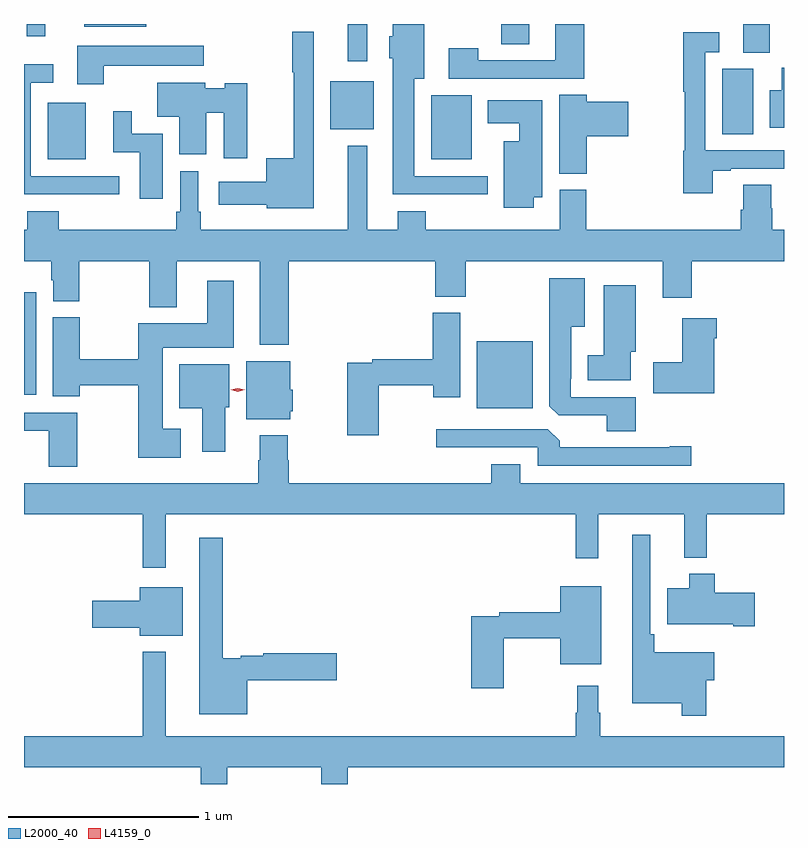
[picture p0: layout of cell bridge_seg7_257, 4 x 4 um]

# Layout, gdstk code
import gdstk
lib = gdstk.Library(unit=1e-6, precision=1e-09)
def R(c, l, rs):  # rectangles x0, y0, x1, y1
    for r in rs: c.add(gdstk.rectangle(r[:2], r[2:], *l))
def P(c, l, *ps):  # polygons
    for p in ps: c.add(gdstk.Polygon(p, *l))
L2000_40 = (2000, 40)
L4159_0 = (4159, 0)

bridge_seg7_257 = lib.new_cell('bridge_seg7_257')
R(bridge_seg7_257, L2000_40, [(170.024,1062.446,170.317,1062.799), (167.64,1062.518,167.704,1063.057), (167.765,1063.757,167.965,1064.053), (169.784,1063.757,169.996,1064.092), (171.314,1063.888,171.478,1064.232), (169.253,1063.913,169.48,1064.167), (169.343,1064.271,169.447,1064.468), (171.425,1064.317,171.565,1064.468), (170.152,1064.362,170.299,1064.468), (167.655,1064.403,167.753,1064.468), (167.957,1064.453,168.283,1064.468)])
P(bridge_seg7_257, L2000_40, [(170.08,1063.668),(169.693,1063.668),(169.693,1064.18),(169.747,1064.18),(169.747,1064.467),(169.58,1064.467),(169.58,1064.403),(169.562,1064.403),(169.562,1064.289),(169.58,1064.289),(169.58,1063.571),(170.08,1063.571)],
  [(170.588,1064.467),(170.435,1064.467),(170.435,1064.277),(170.031,1064.277),(170.031,1064.341),(169.875,1064.341),(169.875,1064.181),(170.588,1064.181)],
  [(169.165,1064.428),(169.051,1064.428),(169.051,1064.215),(169.061,1064.215),(169.061,1063.762),(168.914,1063.762),(168.914,1063.639),(168.666,1063.639),(168.666,1063.517),(168.918,1063.517),(168.918,1063.499),(169.165,1063.499)],
  [(171.265,1063.695),(171.361,1063.695),(171.361,1063.707),(171.64,1063.707),(171.64,1063.803),(171.225,1063.803),(171.225,1064.319),(171.298,1064.319),(171.298,1064.425),(171.109,1064.425),(171.109,1064.112),(171.117,1064.112),(171.117,1063.8),(171.109,1063.8),(171.109,1063.578),(171.265,1063.578)],
  [(168.061,1064.249),(168.586,1064.249),(168.586,1064.353),(167.921,1064.353),(167.921,1064.151),(168.061,1064.151)],
  [(168.142,1063.668),(167.676,1063.668),(167.676,1064.16),(167.794,1064.16),(167.794,1064.257),(167.64,1064.257),(167.64,1063.572),(167.905,1063.572),(167.905,1063.571),(168.142,1063.571)],
  [(171.64,1064.238),(171.629,1064.238),(171.629,1064.119),(171.566,1064.119),(171.566,1063.923),(171.64,1063.923)],
  [(168.814,1064.157),(168.696,1064.157),(168.696,1064.131),(168.594,1064.131),(168.594,1064.158),(168.341,1064.158),(168.341,1063.979),(168.458,1063.979),(168.458,1063.782),(168.598,1063.782),(168.598,1064.002),(168.692,1064.002),(168.692,1063.761),(168.814,1063.761)],
  [(170.603,1063.877),(170.821,1063.877),(170.821,1064.06),(170.603,1064.06),(170.603,1064.096),(170.456,1064.096),(170.456,1063.681),(170.603,1063.681)],
  [(170.323,1063.556),(170.368,1063.556),(170.368,1064.068),(170.081,1064.068),(170.081,1063.946),(170.246,1063.946),(170.246,1063.852),(170.165,1063.852),(170.165,1063.5),(170.323,1063.5)],
  [(168.37,1063.89),(168.208,1063.89),(168.208,1064.008),(168.11,1064.008),(168.11,1063.794),(168.248,1063.794),(168.248,1063.548),(168.37,1063.548)],
  [(169.034,1063.22),(169.805,1063.22),(169.805,1063.033),(169.965,1063.033),(169.965,1063.22),(171.002,1063.22),(171.002,1063.026),(171.155,1063.026),(171.155,1063.22),(171.64,1063.22),(171.64,1063.384),(171.578,1063.384),(171.578,1063.497),(171.573,1063.497),(171.573,1063.622),(171.425,1063.622),(171.425,1063.49),(171.413,1063.49),(171.413,1063.384),(170.6,1063.384),(170.6,1063.596),(170.459,1063.596),(170.459,1063.384),(169.755,1063.384),(169.755,1063.483),(169.607,1063.483),(169.607,1063.384),(169.447,1063.384),(169.447,1063.828),(169.343,1063.828),(169.343,1063.384),(168.571,1063.384),(168.571,1063.48),(168.558,1063.48),(168.558,1063.693),(168.462,1063.693),(168.462,1063.48),(168.442,1063.48),(168.442,1063.384),(167.822,1063.384),(167.822,1063.483),(167.657,1063.483),(167.657,1063.384),(167.64,1063.384),(167.64,1063.22),(167.783,1063.22),(167.783,1063.119),(167.795,1063.119),(167.795,1063.009),(167.931,1063.009),(167.931,1063.22),(168.298,1063.22),(168.298,1062.977),(168.445,1062.977),(168.445,1063.22),(168.881,1063.22),(168.881,1062.779),(169.034,1062.779)],
  [(170.861,1062.504),(170.517,1062.504),(170.517,1062.601),(170.521,1062.601),(170.521,1062.875),(170.59,1062.875),(170.59,1063.129),(170.405,1063.129),(170.405,1062.457),(170.454,1062.408),(170.708,1062.408),(170.708,1062.325),(170.861,1062.325)],
  [(168.466,1062.337),(168.37,1062.337),(168.37,1062.764),(168.745,1062.764),(168.745,1063.117),(168.605,1063.117),(168.605,1062.892),(168.241,1062.892),(168.241,1062.704),(167.934,1062.704),(167.934,1062.924),(167.792,1062.924),(167.792,1062.508),(167.934,1062.508),(167.934,1062.568),(168.241,1062.568),(168.241,1062.185),(168.466,1062.185)],
  [(170.833,1062.744),(170.86,1062.744),(170.86,1063.093),(170.69,1063.093),(170.69,1062.724),(170.606,1062.724),(170.606,1062.593),(170.833,1062.593)],
  [(169.506,1062.568),(169.795,1062.568),(169.795,1062.504),(169.936,1062.504),(169.936,1062.948),(169.79,1062.948),(169.79,1062.704),(169.474,1062.704),(169.474,1062.684),(169.34,1062.684),(169.34,1062.303),(169.506,1062.303)],
  [(171.274,1062.815),(171.287,1062.815),(171.287,1062.919),(171.104,1062.919),(171.104,1062.687),(170.952,1062.687),(170.952,1062.524),(171.274,1062.524)],
  [(169.042,1062.429),(169.054,1062.429),(169.054,1062.543),(169.042,1062.543),(169.042,1062.694),(168.809,1062.694),(168.809,1062.389),(169.042,1062.389)],
  [(168.7,1062.45),(168.721,1062.45),(168.721,1062.676),(168.458,1062.676),(168.458,1062.446),(168.578,1062.446),(168.578,1062.216),(168.7,1062.216)],
  [(167.919,1062.423),(167.64,1062.423),(167.64,1062.327),(167.771,1062.327),(167.771,1062.138),(167.919,1062.138)],
  [(171.151,1062.245),(171.038,1062.245),(171.038,1062.24),(170.459,1062.24),(170.459,1062.274),(170.397,1062.336),(169.809,1062.336),(169.809,1062.24),(170.343,1062.24),(170.343,1062.144),(171.151,1062.144)],
  [(170.545,1061.655),(170.663,1061.655),(170.663,1061.888),(171.116,1061.888),(171.116,1061.66),(171.233,1061.66),(171.233,1061.888),(171.64,1061.888),(171.64,1062.052),(170.251,1062.052),(170.251,1062.151),(170.099,1062.151),(170.099,1062.052),(169.034,1062.052),(169.034,1062.173),(169.029,1062.173),(169.029,1062.304),(168.881,1062.304),(168.881,1062.173),(168.874,1062.173),(168.874,1062.052),(167.64,1062.052),(167.64,1061.888),(168.264,1061.888),(168.264,1061.607),(168.385,1061.607),(168.385,1061.888),(170.545,1061.888)],
  [(171.23,1061.014),(171.274,1061.014),(171.274,1061.161),(170.957,1061.161),(170.957,1061.257),(170.937,1061.257),(170.937,1061.779),(170.84,1061.779),(170.84,1060.892),(171.102,1060.892),(171.102,1060.827),(171.23,1060.827)],
  [(168.814,1061.014),(169.285,1061.014),(169.285,1061.156),(168.9,1061.156),(168.9,1061.144),(168.782,1061.144),(168.782,1061.131),(168.685,1061.131),(168.685,1061.764),(168.563,1061.764),(168.563,1060.835),(168.814,1060.835)],
  [(171.487,1061.475),(171.275,1061.475),(171.275,1061.575),(171.14,1061.575),(171.14,1061.497),(171.026,1061.497),(171.026,1061.309),(171.374,1061.309),(171.374,1061.297),(171.487,1061.297)],
  [(170.164,1061.236),(170.462,1061.236),(170.462,1061.099),(170.677,1061.099),(170.677,1061.509),(170.462,1061.509),(170.462,1061.372),(170.14,1061.372),(170.14,1061.352),(169.994,1061.352),(169.994,1060.971),(170.164,1060.971)],
  [(168.475,1061.503),(168.248,1061.503),(168.248,1061.433),(168,1061.433),(168,1061.291),(168.248,1061.291),(168.248,1061.249),(168.475,1061.249)],
  [(168.709,1060.556),(169.205,1060.556),(169.205,1060.468),(169.345,1060.468),(169.345,1060.556),(171.64,1060.556),(171.64,1060.72),(170.674,1060.72),(170.674,1060.844),(170.662,1060.844),(170.662,1060.984),(170.553,1060.984),(170.553,1060.844),(170.545,1060.844),(170.545,1060.72),(168.385,1060.72),(168.385,1061.164),(168.264,1061.164),(168.264,1060.72),(167.64,1060.72),(167.64,1060.556),(168.57,1060.556),(168.57,1060.468),(168.709,1060.468)])
P(bridge_seg7_257, L4159_0, [(168.764,1062.532),(168.727,1062.542),(168.726,1062.542),(168.727,1062.543),(168.764,1062.552),(168.802,1062.543),(168.802,1062.542),(168.802,1062.542)])

lib.write_gds('bridge_seg7_257.gds')
